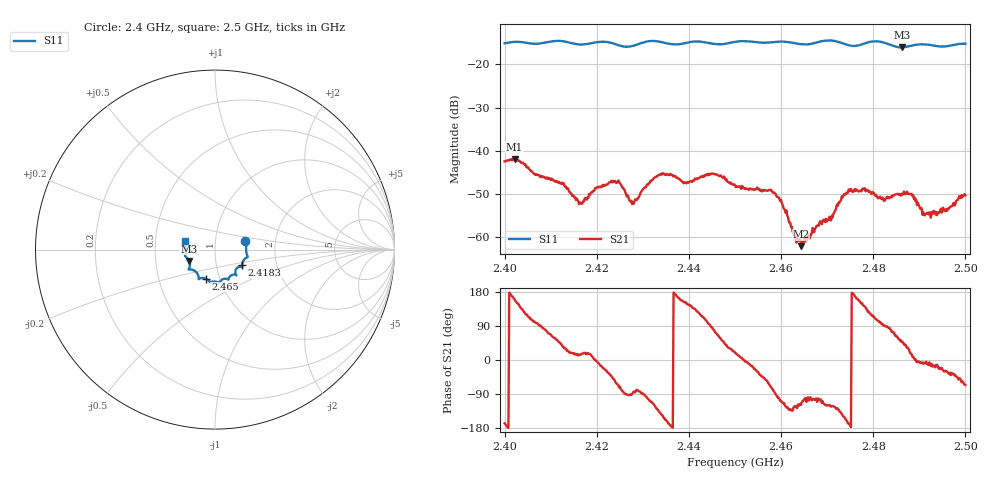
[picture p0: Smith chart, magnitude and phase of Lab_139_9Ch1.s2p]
# Hz S RI R 50
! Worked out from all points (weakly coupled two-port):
!   601 points, 2.4 GHz to 2.5 GHz, reference 50 ohm
!   highest |S21| = -41.90 dB at 2.4022 GHz (marker M1); lowest = -62.0 dB at 2.4643 GHz (marker M2)
!   lowest |S11| = -16.1 dB at 2.4862 GHz (marker M3), VSWR 1.37, Z = 37.2 - j4.83 ohm
!   |S11| at or under -10 dB: start of sweep to end of sweep
!   S12 and S22 are empty: the file has one direction only
!   S11 on the Smith chart (normalised r, x): 2.4 GHz: 1.40, +0.14; 2.4183 GHz: 1.33, -0.24; 2.465 GHz: 0.86, -0.28; 2.5 GHz: 0.71, +0.07
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2.4e9  0.1686 0.0469  -0.00736 -0.00168  0 0  0 0
2.402167e9  0.178 0.0366  -0.00753 0.00281  0 0  0 0
2.412333e9  0.1817 -0.0414  0.00313 0.00276  0 0  0 0
2.416667e9  0.1548 -0.0685  0.00237 0.000641  0 0  0 0
2.418333e9  0.15 -0.0873  0.00305 0.000903  0 0  0 0
2.424167e9  0.1412 -0.0948  0.00209 -0.00371  0 0  0 0
2.428167e9  0.1135 -0.1201  0.000299 -0.00259  0 0  0 0
2.433333e9  0.1176 -0.1412  -0.00356 -0.00382  0 0  0 0
2.439333e9  0.0771 -0.1587  -0.00381 0.00199  0 0  0 0
2.4455e9  0.0581 -0.1619  0.00115 0.00526  0 0  0 0
2.45e9  0.0263 -0.1802  0.00378 0.00133  0 0  0 0
2.458333e9  -0.0195 -0.1798  0.000525 -0.00323  0 0  0 0
2.464333e9  -0.0454 -0.1646  -0.000375 -0.000697  0 0  0 0
2.465e9  -0.0524 -0.1615  -0.000237 -0.000959  0 0  0 0
2.466667e9  -0.0711 -0.1577  -0.000315 -0.00108  0 0  0 0
2.470833e9  -0.0909 -0.1652  -0.000855 -0.00131  0 0  0 0
2.474667e9  -0.0983 -0.134  -0.00349 -0.000778  0 0  0 0
2.483333e9  -0.1411 -0.0965  0.00027 0.00289  0 0  0 0
2.486167e9  -0.1436 -0.0634  0.00218 0.00234  0 0  0 0
2.488167e9  -0.1574 -0.0452  0.00301 0.000923  0 0  0 0
2.4915e9  -0.1668 -0.0316  0.00188 -0.000144  0 0  0 0
2.5e9  -0.1667 0.0469  0.00125 -0.00278  0 0  0 0
